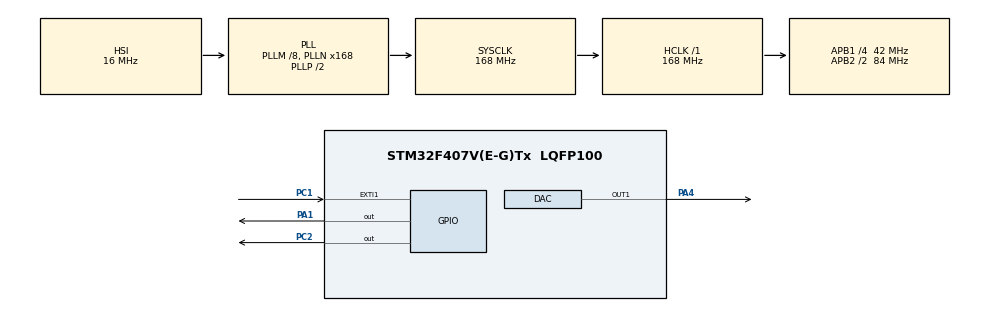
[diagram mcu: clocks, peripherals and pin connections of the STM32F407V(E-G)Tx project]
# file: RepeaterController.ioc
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DAC.DAC_Trigger=DAC_TRIGGER_T8_TRGO
Dma.DAC1.0.Direction=DMA_MEMORY_TO_PERIPH
Dma.DAC1.0.FIFOMode=DMA_FIFOMODE_DISABLE
Dma.DAC1.0.Instance=DMA1_Stream5
Dma.DAC1.0.MemDataAlignment=DMA_MDATAALIGN_WORD
Dma.DAC1.0.MemInc=DMA_MINC_ENABLE
Dma.DAC1.0.Mode=DMA_CIRCULAR
Dma.DAC1.0.PeriphDataAlignment=DMA_PDATAALIGN_WORD
Dma.DAC1.0.PeriphInc=DMA_PINC_DISABLE
Dma.DAC1.0.Priority=DMA_PRIORITY_HIGH
Dma.Request0=DAC1
Mcu.Family=STM32F4
Mcu.Name=STM32F407V(E-G)Tx
Mcu.Package=LQFP100
NVIC.DMA1_Stream5_IRQn=true\:0\:0\:false\:false\:true\:false\:true\:true
NVIC.EXTI1_IRQn=true\:0\:0\:false\:false\:true\:true\:true\:true
NVIC.PriorityGroup=NVIC_PRIORITYGROUP_4
NVIC.TIM2_IRQn=true\:0\:0\:false\:false\:true\:true\:true\:true
NVIC.TIM4_IRQn=true\:0\:0\:false\:false\:true\:true\:true\:true
NVIC.TIM8_UP_TIM13_IRQn=true\:0\:0\:false\:false\:true\:true\:true\:true
PA1.Signal=GPIO_Output
PA13.Mode=Serial_Wire
PA13.Signal=SYS_JTMS-SWDIO
PA14.Mode=Serial_Wire
PA14.Signal=SYS_JTCK-SWCLK
PA4.Signal=COMP_DAC1_group
PC1.GPIO_ModeDefaultEXTI=GPIO_MODE_IT_RISING_FALLING
PC1.GPIO_PuPd=GPIO_PULLDOWN
PC1.Signal=GPXTI1
PC2.GPIO_PuPd=GPIO_PULLDOWN
PC2.GPIO_Speed=GPIO_SPEED_FREQ_MEDIUM
PC2.PinState=GPIO_PIN_SET
PC2.Signal=GPIO_Output
PH0-OSC_IN.Mode=HSE-External-Oscillator
PH0-OSC_IN.Signal=RCC_OSC_IN
PH1-OSC_OUT.Mode=HSE-External-Oscillator
PH1-OSC_OUT.Signal=RCC_OSC_OUT
ProjectManager.HeapSize=0x200
ProjectManager.StackSize=0x400
ProjectManager.TargetToolchain=STM32CubeIDE
RCC.48MHZClocksFreq_Value=84000000
RCC.AHBFreq_Value=168000000
RCC.APB1CLKDivider=RCC_HCLK_DIV4
RCC.APB1Freq_Value=42000000
RCC.APB1TimFreq_Value=84000000
RCC.APB2CLKDivider=RCC_HCLK_DIV2
RCC.APB2Freq_Value=84000000
RCC.APB2TimFreq_Value=168000000
RCC.CortexFreq_Value=168000000
RCC.HCLKFreq_Value=168000000
RCC.HSE_VALUE=8000000
RCC.HSI_VALUE=16000000
RCC.LSE_VALUE=32768
RCC.PLLM=8
RCC.PLLN=168
RCC.SYSCLKFreq_VALUE=168000000
RCC.SYSCLKSource=RCC_SYSCLKSOURCE_PLLCLK
RCC.VCOOutputFreq_Value=336000000
SH.COMP_DAC1_group.0=DAC_OUT1,DAC_OUT1
TIM2.Period=1200000
TIM2.Prescaler=42000
TIM2.TIM_MasterOutputTrigger=TIM_TRGO_UPDATE
TIM4.Period=2000
TIM4.Prescaler=4200
TIM4.TIM_MasterOutputTrigger=TIM_TRGO_UPDATE
TIM8.Period=12
TIM8.Prescaler=84
TIM8.TIM_MasterOutputTrigger=TIM_TRGO_UPDATE
VP_TIM2_VS_ClockSourceINT.Mode=Internal
VP_TIM4_VS_ClockSourceINT.Mode=Internal
VP_TIM8_VS_ClockSourceINT.Mode=Internal
board=custom

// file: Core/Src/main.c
/* USER CODE BEGIN Header */
/**
  ******************************************************************************
  * @file           : main.c
  * @brief          : Main program body
  ******************************************************************************
  * @attention
  *
  * Copyright (c) 2022 STMicroelectronics.
  * All rights reserved.
  *
  * This software is licensed under terms that can be found in the LICENSE file
  * in the root directory of this software component.
  * If no LICENSE file comes with this software, it is provided AS-IS.
  *
  ******************************************************************************
  */
/* USER CODE END Header */
#include "main.h"

/* USER CODE BEGIN Includes */
#include <math.h>

#include <stdint.h>
#include <stdlib.h>
#include <stdbool.h>

#include "MorseKeyer.h"
/* USER CODE END Includes */

/* USER CODE BEGIN PD */
#define PI 3.1415926
#define CALLSIGN "*****" //# Update for individual callsign
#define ACK "I"
/* USER CODE END PD */

 DAC_HandleTypeDef hdac;
DMA_HandleTypeDef hdma_dac1;

TIM_HandleTypeDef htim2;
TIM_HandleTypeDef htim4;
TIM_HandleTypeDef htim8;

/* USER CODE BEGIN PV */
uint32_t sineValues[100] = {0};

uint8_t  m_poBuffer[1000U] = {0};
uint8_t  m_pAckBuffer[1000U] = {0};

uint16_t m_poLen    = 0;
uint16_t m_pAckLen    = 0;

uint16_t m_poPos    = 0;
uint16_t m_pAckPos    = 0;

uint8_t  m_CountSincePTT = 0;

volatile bool isRunning = true;

volatile bool isAckRunning = false;
volatile bool isSendingID = false;
volatile bool isSendingAck = false;
volatile bool hasSentID = false;
volatile bool hasSentAck = false;

volatile bool isTransmitting = false;
volatile uint8_t waitCount = 0;
volatile uint8_t ackWaitCount = 0;
volatile GPIO_PinState receiverStatus;
volatile GPIO_PinState prevReceiverStatus = GPIO_PIN_RESET;
volatile bool currentBit = false;
volatile bool currentAckBit = false;
/* USER CODE END PV */

void SystemClock_Config(void);
static void MX_GPIO_Init(void);
static void MX_TIM2_Init(void);
static void MX_DMA_Init(void);
static void MX_DAC_Init(void);
static void MX_TIM4_Init(void);
static void MX_TIM8_Init(void);
/* USER CODE BEGIN PFP */
void GetSineValues();
uint8_t setCallsign(char* text);
uint8_t setAck(char* text);
void setPTT(bool pttStatus);
void HAL_TIM_PeriodElapsedCallback(TIM_HandleTypeDef *htim);
/* USER CODE END PFP */

/* USER CODE BEGIN 0 */
void HAL_GPIO_EXTI_Callback(uint16_t GPIO_Pin)
{
	if (GPIO_Pin == GPIO_PIN_1)
	{
		receiverStatus = HAL_GPIO_ReadPin(GPIOC, GPIO_PIN_1);

		switch (receiverStatus)
		{
		case GPIO_PIN_SET: //# Nothing being Received
			HAL_GPIO_WritePin(GPIOA, GPIO_PIN_1, GPIO_PIN_SET);
			if (isSendingID == false && hasSentAck == false && hasSentID == false)
			{
				isSendingAck = true;
				HAL_TIM_Base_Start_IT(&htim4);

			}
			else if (hasSentID == true)
				hasSentID = false;

			setPTT(false);
			break;
		case GPIO_PIN_RESET: //# Receiver is receiving
			HAL_GPIO_WritePin(GPIOA, GPIO_PIN_1, GPIO_PIN_RESET);
			setPTT(true);
			m_CountSincePTT = 0;
			break;
		}
	}
}

void HAL_TIM_PeriodElapsedCallback(TIM_HandleTypeDef *htim)
{

	if (htim == &htim4)
	{
		if (isSendingID == true)
		{
			if (isTransmitting == false)
			{
				setPTT(true);
				waitCount = 0;
				return;
			}

			if (waitCount < 10)
			{
				waitCount++;
				return;
			}

			currentBit = READ_BIT_FM(m_poBuffer, m_poPos);
			switch(currentBit)
			{
			case true:
				__HAL_DAC_ENABLE(&hdac, DAC_CHANNEL_1);
				isRunning = true;
				break;
			case false:
				__HAL_DAC_DISABLE(&hdac, DAC_CHANNEL_1);
				isRunning = false;
				break;
			}

			m_poPos++;

			if (m_poPos >= m_poLen)
			{
				HAL_TIM_Base_Stop_IT(&htim4);
				setPTT(false);
				isSendingID = false;
				hasSentID = true;
				m_poPos = 0;
			}
		}
		else if (isSendingAck == true)
		{
			if (isTransmitting == false)
			{
				setPTT(true);
				ackWaitCount = 0;
				return;
			}

			if (ackWaitCount < 10)
			{
				ackWaitCount++;
				return;
			}

			currentAckBit = READ_BIT_FM(m_pAckBuffer, m_pAckPos);
			switch(currentAckBit)
			{
			case true:
				__HAL_DAC_ENABLE(&hdac, DAC_CHANNEL_1);
				isAckRunning = true;
				break;
			case false:
				__HAL_DAC_DISABLE(&hdac, DAC_CHANNEL_1);
				isAckRunning = false;
				break;
			}

			m_pAckPos++;

			if (m_pAckPos >= m_pAckLen)
			{
				HAL_TIM_Base_Stop_IT(&htim4);
				setPTT(false);
				isSendingAck = false;
				hasSentAck = true;
				m_pAckPos = 0;
			}

		}

	}
	else if (htim == &htim2)
	{

		if (m_CountSincePTT < 3)
		{
			isSendingID = true;
			HAL_TIM_Base_Start_IT(&htim4);
			m_CountSincePTT++;
		}

	}

}

void GetSineValues()
{
	for (uint32_t i = 0; i < 100; i++)
	{
		sineValues[i] = ((sin(i * 2 * PI/100)+1)*(4096 / 2));
	}
}

uint8_t setCallsign (char* text)
{
	  m_poLen = 0U;

	  for (uint8_t i = 0U; text[i] != '\0'; i++) {
	    for (uint8_t j = 0U; SYMBOL_LIST[j].c != 0U; j++) {
	      if (SYMBOL_LIST[j].c == text[i]) {
	        uint32_t MASK = 0x80000000U;
	        for (uint8_t k = 0U; k < SYMBOL_LIST[j].length; k++, m_poLen++, MASK >>= 1) {
	          bool b = (SYMBOL_LIST[j].pattern & MASK) == MASK;
	          WRITE_BIT_FM(m_poBuffer, m_poLen, b);

	          if (m_poLen >= 995U) {
	            m_poLen = 0U;
	            return 4U;
	          }
	        }

	        break;
	      }
	    }
	  }

	  return 0U;
}

uint8_t setAck (char* text)
{
	m_pAckLen = 0U;

	for (uint8_t i = 0U; text[i] != '\0'; i++) {
		for (uint8_t j = 0U; SYMBOL_LIST[j].c != 0U; j++) {
		  if (SYMBOL_LIST[j].c == text[i]) {
			uint32_t MASK = 0x80000000U;
			for (uint8_t k = 0U; k < SYMBOL_LIST[j].length; k++, m_pAckLen++, MASK >>= 1) {
			  bool b = (SYMBOL_LIST[j].pattern & MASK) == MASK;
			  WRITE_BIT_FM(m_pAckBuffer, m_pAckLen, b);

			  if (m_pAckLen >= 995U) {
				m_pAckLen = 0U;
				return 4U;
			  }
			}

			break;
		  }
		}
	}

	return 0U;
}

void setPTT(bool pttStatus)
{
	if (pttStatus == true)
	{
		hasSentAck = false;
		HAL_GPIO_WritePin(GPIOC, GPIO_PIN_2, GPIO_PIN_SET);
	}
	else
		HAL_GPIO_WritePin(GPIOC, GPIO_PIN_2, GPIO_PIN_RESET);

	isTransmitting = pttStatus;

}

/* USER CODE END 0 */

int main(void)
{
  /* USER CODE BEGIN 1 */
	GetSineValues();

	setCallsign(CALLSIGN);
	setAck(ACK);

  /* USER CODE END 1 */

  /* MCU Configuration--------------------------------------------------------*/

  /* Reset of all peripherals, Initializes the Flash interface and the Systick. */
  HAL_Init();

  /* Configure the system clock */
  SystemClock_Config();

  /* Initialize all configured peripherals */
  MX_GPIO_Init();
  MX_TIM2_Init();
  MX_DMA_Init();
  MX_DAC_Init();
  MX_TIM4_Init();
  MX_TIM8_Init();
  /* USER CODE BEGIN 2 */
  HAL_DAC_Start_DMA(&hdac, DAC_CHANNEL_1, sineValues, 100, DAC_ALIGN_12B_R);

  //# Disable DAC and set state variable to false
  __HAL_DAC_DISABLE(&hdac, DAC_CHANNEL_1);
  isRunning = false;

  //# start clock to enable sine wave generation
  HAL_TIM_Base_Start(&htim8);

  //# Turn Off LED
  HAL_GPIO_WritePin(GPIOA, GPIO_PIN_1, GPIO_PIN_SET);
  HAL_GPIO_WritePin(GPIOC, GPIO_PIN_2, GPIO_PIN_RESET);
  HAL_TIM_Base_Start_IT(&htim2);
  /* USER CODE END 2 */

  /* Infinite loop */
  while (1)
  {

    /* USER CODE BEGIN 3 */
	  HAL_Delay(1);
  }
  /* USER CODE END 3 */
}

void SystemClock_Config(void)
{
  RCC_OscInitTypeDef RCC_OscInitStruct = {0};
  RCC_ClkInitTypeDef RCC_ClkInitStruct = {0};

  /** Configure the main internal regulator output voltage
  */
  __HAL_RCC_PWR_CLK_ENABLE();
  __HAL_PWR_VOLTAGESCALING_CONFIG(PWR_REGULATOR_VOLTAGE_SCALE1);

  /** Initializes the RCC Oscillators according to the specified parameters
  * in the RCC_OscInitTypeDef structure.
  */
  RCC_OscInitStruct.OscillatorType = RCC_OSCILLATORTYPE_HSI;
  RCC_OscInitStruct.HSIState = RCC_HSI_ON;
  RCC_OscInitStruct.HSICalibrationValue = RCC_HSICALIBRATION_DEFAULT;
  RCC_OscInitStruct.PLL.PLLState = RCC_PLL_ON;
  RCC_OscInitStruct.PLL.PLLSource = RCC_PLLSOURCE_HSI;
  RCC_OscInitStruct.PLL.PLLM = 8;
  RCC_OscInitStruct.PLL.PLLN = 168;
  RCC_OscInitStruct.PLL.PLLP = RCC_PLLP_DIV2;
  RCC_OscInitStruct.PLL.PLLQ = 4;
  if (HAL_RCC_OscConfig(&RCC_OscInitStruct) != HAL_OK)
  {
    Error_Handler();
  }

  /** Initializes the CPU, AHB and APB buses clocks
  */
  RCC_ClkInitStruct.ClockType = RCC_CLOCKTYPE_HCLK|RCC_CLOCKTYPE_SYSCLK
                              |RCC_CLOCKTYPE_PCLK1|RCC_CLOCKTYPE_PCLK2;
  RCC_ClkInitStruct.SYSCLKSource = RCC_SYSCLKSOURCE_PLLCLK;
  RCC_ClkInitStruct.AHBCLKDivider = RCC_SYSCLK_DIV1;
  RCC_ClkInitStruct.APB1CLKDivider = RCC_HCLK_DIV4;
  RCC_ClkInitStruct.APB2CLKDivider = RCC_HCLK_DIV2;

  if (HAL_RCC_ClockConfig(&RCC_ClkInitStruct, FLASH_LATENCY_5) != HAL_OK)
  {
    Error_Handler();
  }
}

static void MX_DAC_Init(void)
{

  DAC_ChannelConfTypeDef sConfig = {0};

  /** DAC Initialization
  */
  hdac.Instance = DAC;
  if (HAL_DAC_Init(&hdac) != HAL_OK)
  {
    Error_Handler();
  }

  /** DAC channel OUT1 config
  */
  sConfig.DAC_Trigger = DAC_TRIGGER_T8_TRGO;
  sConfig.DAC_OutputBuffer = DAC_OUTPUTBUFFER_ENABLE;
  if (HAL_DAC_ConfigChannel(&hdac, &sConfig, DAC_CHANNEL_1) != HAL_OK)
  {
    Error_Handler();
  }

}

static void MX_TIM2_Init(void)
{

  TIM_ClockConfigTypeDef sClockSourceConfig = {0};
  TIM_MasterConfigTypeDef sMasterConfig = {0};

  htim2.Instance = TIM2;
  htim2.Init.Prescaler = 42000;
  htim2.Init.CounterMode = TIM_COUNTERMODE_UP;
  htim2.Init.Period = 1200000;
  htim2.Init.ClockDivision = TIM_CLOCKDIVISION_DIV1;
  htim2.Init.AutoReloadPreload = TIM_AUTORELOAD_PRELOAD_DISABLE;
  if (HAL_TIM_Base_Init(&htim2) != HAL_OK)
  {
    Error_Handler();
  }
  sClockSourceConfig.ClockSource = TIM_CLOCKSOURCE_INTERNAL;
  if (HAL_TIM_ConfigClockSource(&htim2, &sClockSourceConfig) != HAL_OK)
  {
    Error_Handler();
  }
  sMasterConfig.MasterOutputTrigger = TIM_TRGO_UPDATE;
  sMasterConfig.MasterSlaveMode = TIM_MASTERSLAVEMODE_DISABLE;
  if (HAL_TIMEx_MasterConfigSynchronization(&htim2, &sMasterConfig) != HAL_OK)
  {
    Error_Handler();
  }

}

static void MX_TIM4_Init(void)
{

  TIM_ClockConfigTypeDef sClockSourceConfig = {0};
  TIM_MasterConfigTypeDef sMasterConfig = {0};

  htim4.Instance = TIM4;
  htim4.Init.Prescaler = 4200;
  htim4.Init.CounterMode = TIM_COUNTERMODE_UP;
  htim4.Init.Period = 2000;
  htim4.Init.ClockDivision = TIM_CLOCKDIVISION_DIV1;
  htim4.Init.AutoReloadPreload = TIM_AUTORELOAD_PRELOAD_DISABLE;
  if (HAL_TIM_Base_Init(&htim4) != HAL_OK)
  {
    Error_Handler();
  }
  sClockSourceConfig.ClockSource = TIM_CLOCKSOURCE_INTERNAL;
  if (HAL_TIM_ConfigClockSource(&htim4, &sClockSourceConfig) != HAL_OK)
  {
    Error_Handler();
  }
  sMasterConfig.MasterOutputTrigger = TIM_TRGO_UPDATE;
  sMasterConfig.MasterSlaveMode = TIM_MASTERSLAVEMODE_DISABLE;
  if (HAL_TIMEx_MasterConfigSynchronization(&htim4, &sMasterConfig) != HAL_OK)
  {
    Error_Handler();
  }

}

static void MX_TIM8_Init(void)
{

  TIM_ClockConfigTypeDef sClockSourceConfig = {0};
  TIM_MasterConfigTypeDef sMasterConfig = {0};

  htim8.Instance = TIM8;
  htim8.Init.Prescaler = 84;
  htim8.Init.CounterMode = TIM_COUNTERMODE_UP;
  htim8.Init.Period = 12;
  htim8.Init.ClockDivision = TIM_CLOCKDIVISION_DIV1;
  htim8.Init.RepetitionCounter = 0;
  htim8.Init.AutoReloadPreload = TIM_AUTORELOAD_PRELOAD_DISABLE;
  if (HAL_TIM_Base_Init(&htim8) != HAL_OK)
  {
    Error_Handler();
  }
  sClockSourceConfig.ClockSource = TIM_CLOCKSOURCE_INTERNAL;
  if (HAL_TIM_ConfigClockSource(&htim8, &sClockSourceConfig) != HAL_OK)
  {
    Error_Handler();
  }
  sMasterConfig.MasterOutputTrigger = TIM_TRGO_UPDATE;
  sMasterConfig.MasterSlaveMode = TIM_MASTERSLAVEMODE_DISABLE;
  if (HAL_TIMEx_MasterConfigSynchronization(&htim8, &sMasterConfig) != HAL_OK)
  {
    Error_Handler();
  }

}

static void MX_DMA_Init(void)
{

  /* DMA controller clock enable */
  __HAL_RCC_DMA1_CLK_ENABLE();

  /* DMA interrupt init */
  /* DMA1_Stream5_IRQn interrupt configuration */
  HAL_NVIC_SetPriority(DMA1_Stream5_IRQn, 0, 0);
  HAL_NVIC_EnableIRQ(DMA1_Stream5_IRQn);

}

static void MX_GPIO_Init(void)
{
  GPIO_InitTypeDef GPIO_InitStruct = {0};

  /* GPIO Ports Clock Enable */
  __HAL_RCC_GPIOH_CLK_ENABLE();
  __HAL_RCC_GPIOC_CLK_ENABLE();
  __HAL_RCC_GPIOA_CLK_ENABLE();

  /*Configure GPIO pin Output Level */
  HAL_GPIO_WritePin(GPIOC, GPIO_PIN_2, GPIO_PIN_SET);

  /*Configure GPIO pin Output Level */
  HAL_GPIO_WritePin(GPIOA, GPIO_PIN_1, GPIO_PIN_RESET);

  /*Configure GPIO pin : PC1 */
  GPIO_InitStruct.Pin = GPIO_PIN_1;
  GPIO_InitStruct.Mode = GPIO_MODE_IT_RISING_FALLING;
  GPIO_InitStruct.Pull = GPIO_PULLDOWN;
  HAL_GPIO_Init(GPIOC, &GPIO_InitStruct);

  /*Configure GPIO pin : PC2 */
  GPIO_InitStruct.Pin = GPIO_PIN_2;
  GPIO_InitStruct.Mode = GPIO_MODE_OUTPUT_PP;
  GPIO_InitStruct.Pull = GPIO_PULLDOWN;
  GPIO_InitStruct.Speed = GPIO_SPEED_FREQ_MEDIUM;
  HAL_GPIO_Init(GPIOC, &GPIO_InitStruct);

  /*Configure GPIO pin : PA1 */
  GPIO_InitStruct.Pin = GPIO_PIN_1;
  GPIO_InitStruct.Mode = GPIO_MODE_OUTPUT_PP;
  GPIO_InitStruct.Pull = GPIO_NOPULL;
  GPIO_InitStruct.Speed = GPIO_SPEED_FREQ_LOW;
  HAL_GPIO_Init(GPIOA, &GPIO_InitStruct);

  /* EXTI interrupt init*/
  HAL_NVIC_SetPriority(EXTI1_IRQn, 0, 0);
  HAL_NVIC_EnableIRQ(EXTI1_IRQn);

}

void Error_Handler(void)
{
  __disable_irq();
  while (1)
  {
  }
}
